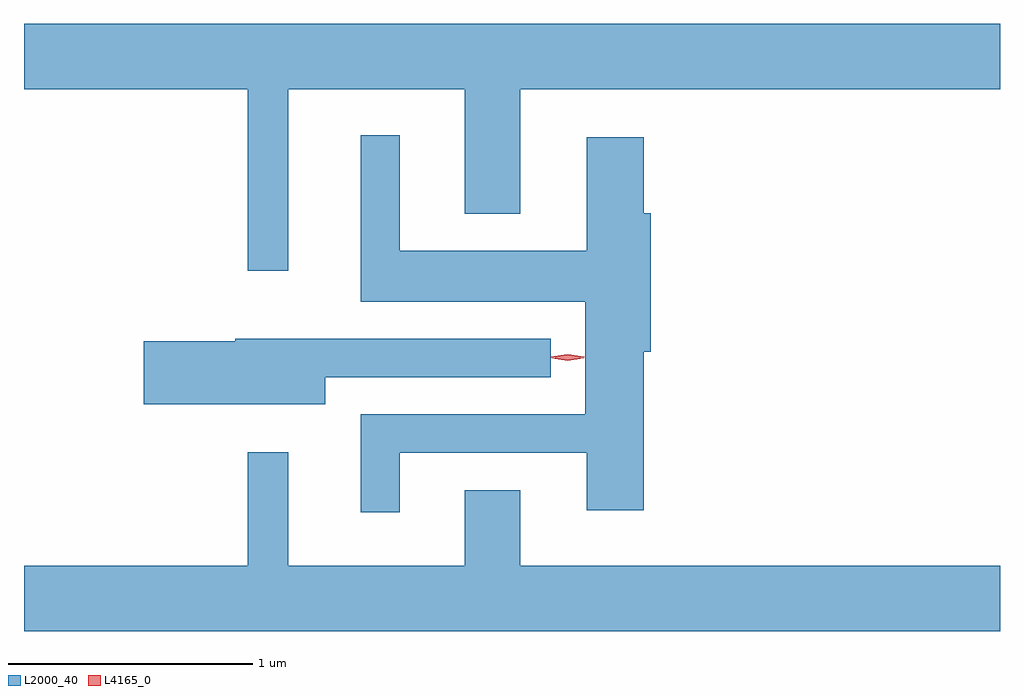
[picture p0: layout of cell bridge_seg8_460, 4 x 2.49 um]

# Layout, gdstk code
import gdstk
lib = gdstk.Library(unit=1e-6, precision=1e-09)
def P(c, l, *ps):  # polygons
    for p in ps: c.add(gdstk.Polygon(p, *l))
L2000_40 = (2000, 40)
L4165_0 = (4165, 0)

bridge_seg8_460 = lib.new_cell('bridge_seg8_460')
P(bridge_seg8_460, L2000_40, [(597.359,1878.596),(598.081,1878.596),(598.081,1878.086),(598.309,1878.086),(598.309,1878.596),(600.275,1878.596),(600.275,1878.864),(596.275,1878.864),(596.275,1878.596),(597.191,1878.596),(597.191,1877.853),(597.359,1877.853)],
  [(597.814,1877.106),(598.581,1877.106),(598.581,1876.871),(598.814,1876.871),(598.814,1877.521),(598.844,1877.521),(598.844,1878.089),(598.814,1878.089),(598.814,1878.399),(598.581,1878.399),(598.581,1877.934),(597.814,1877.934),(597.814,1878.408),(597.656,1878.408),(597.656,1877.726),(598.576,1877.726),(598.576,1877.264),(597.656,1877.264),(597.656,1876.863),(597.814,1876.863)],
  [(597.509,1877.416),(598.433,1877.416),(598.433,1877.574),(597.14,1877.574),(597.14,1877.564),(596.766,1877.564),(596.766,1877.306),(597.509,1877.306)],
  [(600.275,1876.644),(598.309,1876.644),(598.309,1876.954),(598.081,1876.954),(598.081,1876.644),(597.359,1876.644),(597.359,1877.108),(597.191,1877.108),(597.191,1876.644),(596.275,1876.644),(596.275,1876.376),(600.275,1876.376)])
P(bridge_seg8_460, L4165_0, [(598.503,1877.49),(598.434,1877.499),(598.433,1877.499),(598.434,1877.5),(598.503,1877.51),(598.572,1877.5),(598.572,1877.5),(598.572,1877.499)],
  [(598.503,1877.483),(598.437,1877.493),(598.437,1877.493),(598.437,1877.494),(598.503,1877.503),(598.568,1877.494),(598.569,1877.493),(598.568,1877.493)])

lib.write_gds('bridge_seg8_460.gds')
